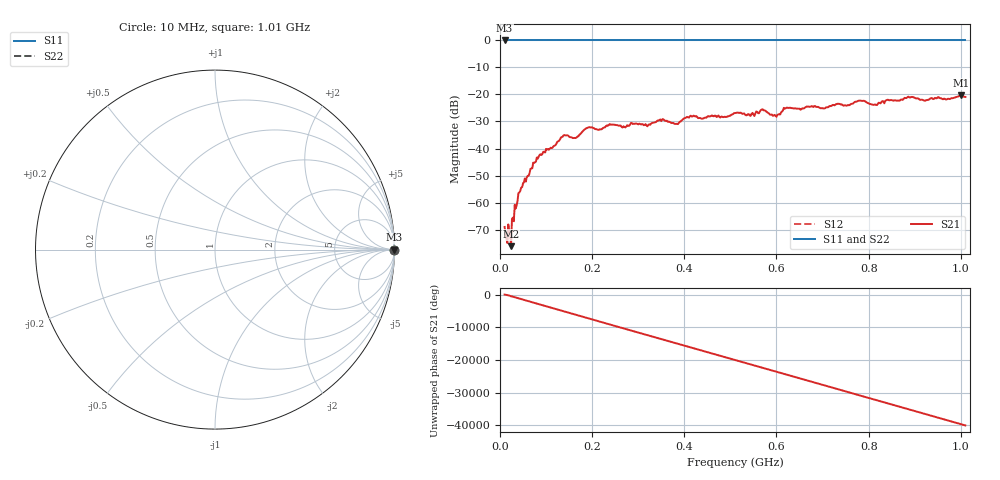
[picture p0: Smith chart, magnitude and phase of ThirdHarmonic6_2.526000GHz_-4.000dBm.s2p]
! 8/17/2025 5:00:16 AM
! C:\ANRITSUVNA\TEMP\TEMP.S2P
! CHANNEL.1
! TR.MEASUREMENT
! RAW.DATA
! RF.CORRECTION.OFF
! AVERAGING.OFF
! IF.BANDWIDTH: 5KHZ
! SWEEPTYPE:  FREQ.SWEEP(Linear)
! Reference Plane Port Info
! PORT:  PORT1  PORT2
! DISTANCE:  0  m  0  m
! TIME:  0  s  0  s
! PHASE.OFFSET:  0  deg.  0  deg.
! LOSS:  0  dB  0  dB
! REF.LOSS:  0  dB  0  dB
! REF.FREQ:  0  Hz  0  Hz
! Power Info
! POWER:  -20  dBm  -20  dBm
! EFF.POWER:  -20  dBm  -20  dBm
! SOURCE.ATTEN:  0  dB  0  dB
! TEST.ATTEN:  0  dB  0  dB
# GHZ S RI R 50.0
! FREQ.GHZ  S11RE  S11IM  S21RE  S21IM  S12RE  S12IM  S22RE  S22IM
!; PortSelection: Port_12
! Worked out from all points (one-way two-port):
!   501 points, 10 MHz to 1.01 GHz, reference 50 ohm
!   highest |S21| = -20.36 dB at 1 GHz (marker M1); lowest = -76.2 dB at 24 MHz (marker M2)
!   lowest |S11| = 0.0 dB at 10 MHz (marker M3)
!   |S11| at or under -10 dB: nowhere
!   |S22| runs from 0.0 to 0.0 dB; largest |S21 - S12| = 1.1
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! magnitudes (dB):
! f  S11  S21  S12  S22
! 10 MHz  0.0  -69.0  0.0  0.0
! 20 MHz  0.0  -70.6  0.0  0.0
! 24 MHz  0.0  -76.2  0.0  0.0
! 30 MHz  0.0  -66.9  0.0  0.0
! 44 MHz  0.0  -55.7  0.0  0.0
! 76 MHz  0.0  -45.1  0.0  0.0
! 136 MHz  0.0  -35.6  0.0  0.0
! 162 MHz  0.0  -36.1  0.0  0.0
! 178 MHz  0.0  -33.9  0.0  0.0
! 194 MHz  0.0  -32.1  0.0  0.0
! 322 MHz  0.0  -31.2  0.0  0.0
! 344 MHz  0.0  -29.7  0.0  0.0
! 382 MHz  0.0  -30.9  0.0  0.0
! 416 MHz  0.0  -28.1  0.0  0.0
! 510 MHz  0.0  -26.9  0.0  0.0
! 570 MHz  0.0  -25.5  0.0  0.0
! 596 MHz  0.0  -27.6  0.0  0.0
! 620 MHz  0.0  -25.1  0.0  0.0
! 678 MHz  0.0  -24.4  0.0  0.0
! 844 MHz  0.0  -22.1  0.0  0.0
! 1 GHz  0.0  -20.4  0.0  0.0
! 1.01 GHz  0.0  -20.9  0.0  0.0
